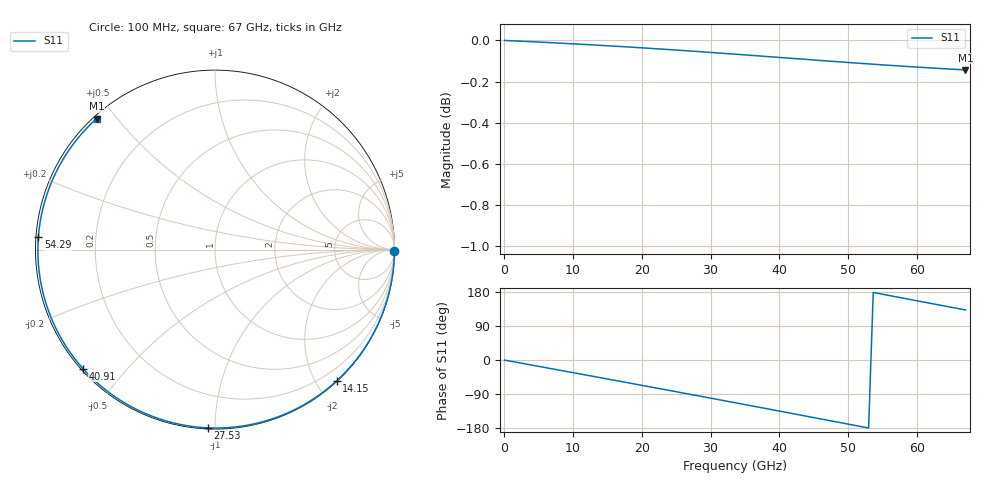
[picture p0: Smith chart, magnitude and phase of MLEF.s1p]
! Touchstone Ver. 1.0
! Number of ports is 1
# Hz  S RI  R  50
! SCATTERING PARAMETERS  :
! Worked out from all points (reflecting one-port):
!   101 points, 100 MHz to 67 GHz, reference 50 ohm
!   lowest |S11| = -0.1 dB at 67 GHz (marker M1), VSWR 121.23, Z = 0.494 + j22.2 ohm
!   phase of S11 starts at -0 deg and turns -228 deg over the sweep
!   S11 on the Smith chart (normalised r, x): 100 MHz: open; 14.15 GHz: 0.01, -2.29; 27.53 GHz: 0.01, -0.96; 40.91 GHz: 0.01, -0.38; 54.29 GHz: 0.01, +0.04; 67 GHz: 0.01, +0.44
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1e8  1 -0.00581
2.107e9  0.9922 -0.122
4.114e9  0.9709 -0.2365
6.121e9  0.9364 -0.3477
8.797e9  0.8707 -0.4884
1.1473e10  0.7839 -0.6173
1.4149e10  0.678 -0.7313
1.6825e10  0.5554 -0.8275
1.9501e10  0.419 -0.9036
2.1508e10  0.3096 -0.9461
2.3515e10  0.1958 -0.9755
2.5522e10  0.0791 -0.9913
2.7529e10  -0.0388 -0.9932
3.0205e10  -0.1951 -0.9739
3.355e10  -0.3835 -0.9152
3.6895e10  -0.5569 -0.8202
4.0909e10  -0.7354 -0.6632
4.2247e10  -0.7859 -0.6019
4.6261e10  -0.906 -0.3961
4.8268e10  -0.9466 -0.2838
5.0275e10  -0.9734 -0.1675
5.2282e10  -0.9859 -0.0487
5.4289e10  -0.9841 0.0706
5.6296e10  -0.9679 0.1887
5.8972e10  -0.9244 0.3414
6.0979e10  -0.8761 0.4501
6.2986e10  -0.8151 0.5521
6.7e10  -0.6593 0.7299
